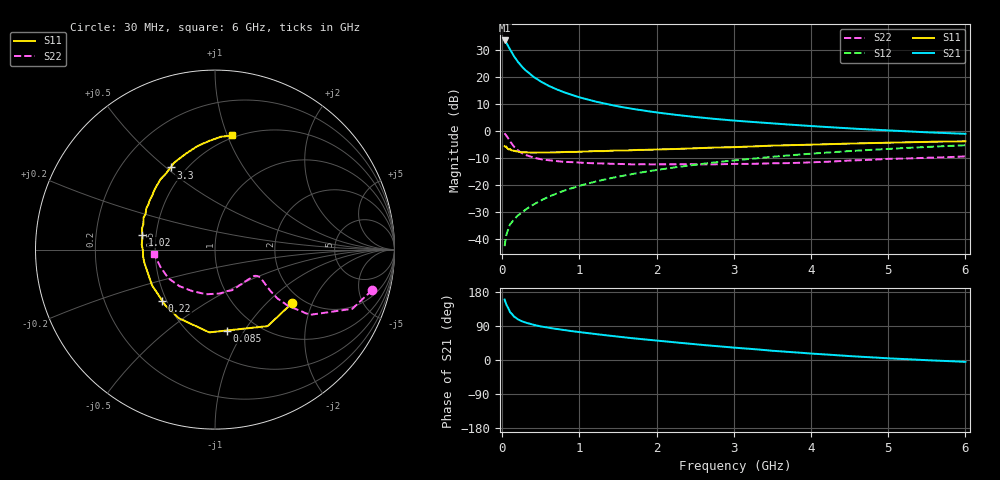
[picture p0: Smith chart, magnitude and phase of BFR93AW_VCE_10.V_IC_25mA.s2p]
! Infineon Technologies  Discrete & RF Semiconductors
! BFR93AW
! VCE =  10. V,  IC =  25 mA
! Common Emitter S-Parameters:  Nov 2015
# GHz  S  MA  R  50
!  f  S11  S21  S12  S22
! GHz  MAG  ANG  MAG  ANG  MAG  ANG  MAG  ANG
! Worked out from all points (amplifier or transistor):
!   206 points, 30 MHz to 6 GHz, reference 50 ohm
!   highest |S21| = 33.3 dB at 30 MHz (marker M1)
!   |S21| within 3 dB of that: start of sweep to 93.86 MHz
!   unconditionally stable (mu >= 1): 512.9 MHz to 2.191 GHz
!   at 200 MHz: K = 0.73, MSG = 28.4 dB, |S12| = -31.2 dB
!   at 1.56 GHz: K = 1.04, MAG = 11.4 dB, |S12| = -16.6 dB
!   at 6 GHz: K = 0.88, MSG = 2.1 dB, |S12| = -5.3 dB
!   S11 on the Smith chart (normalised r, x): 30 MHz: 1.75, -1.44; 85 MHz: 0.74, -0.84; 220 MHz: 0.47, -0.32; 1.02 GHz: 0.42, +0.08; 3.3 GHz: 0.41, +0.52; 6 GHz: 0.48, +1.04
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0.03  0.5227 -34.9  46.42 159.4  0.0075 74.1  0.9037 -14.5
0.05  0.5174 -55.5  42.79 146.6  0.0117 70.2  0.8333 -23.3
0.085  0.4555 -81.7  34.58 133.7  0.0166 62.9  0.695 -30.6
0.1  0.4622 -93.9  31.78 126.3  0.0188 61.0  0.6402 -34.6
0.15  0.4322 -117.7  23.85 114.8  0.023 59.5  0.5144 -37.6
0.2  0.4162 -131.7  18.9 107.5  0.0275 61.6  0.4396 -38.0
0.22  0.4091 -136.0  17.52 105.7  0.0289 62.3  0.4197 -37.6
0.26  0.4025 -144.2  15.01 101.7  0.0318 63.7  0.3841 -36.7
0.3  0.4037 -150.0  13.12 98.6  0.0353 65.3  0.3604 -35.7
0.4  0.3969 -161.1  9.992 92.9  0.0435 67.7  0.3221 -33.3
0.5  0.3999 -168.9  8.098 88.5  0.052 68.6  0.2993 -32.2
0.6  0.4027 -174.3  6.783 85.0  0.0609 70.5  0.2872 -31.6
0.7  0.4015 -179.5  5.857 81.8  0.0698 70.9  0.2786 -31.9
1.02  0.4132 168.3  4.08 72.9  0.0989 71.7  0.2599 -35.2
1.04  0.4145 167.7  4.008 72.5  0.1007 71.6  0.2588 -35.7
1.5  0.4362 155.8  2.832 61.6  0.1431 70.1  0.2469 -44.9
2.02  0.4554 143.4  2.168 50.7  0.1916 66.8  0.2422 -58.2
3.1  0.5073 122.0  1.511 31.2  0.2948 58.1  0.2458 -87.5
3.3  0.5204 118.4  1.439 28.0  0.3143 56.1  0.2479 -94.3
4.1  0.5623 105.6  1.203 15.8  0.3888 48.2  0.266 -122.0
5.1  0.6094 92.1  1.004 3.5  0.4742 37.6  0.3066 -151.6
6  0.6429 81.5  0.883 -4.9  0.544 28.1  0.3385 -175.6
